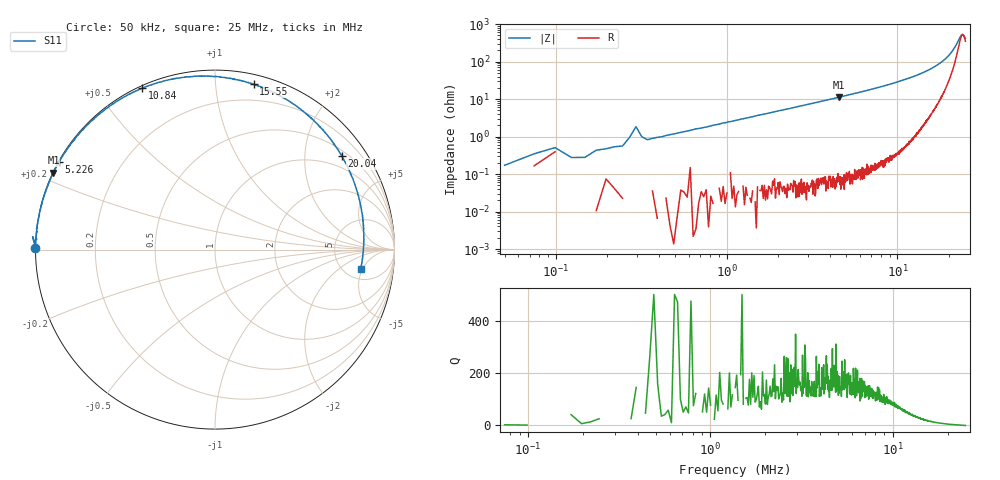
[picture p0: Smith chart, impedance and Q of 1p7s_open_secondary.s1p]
# HZ S RI R 50
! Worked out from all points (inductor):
!   1023 points, 50 kHz to 25 MHz, reference 50 ohm
!   read as one part to ground: L = 401 nH near 172.1 kHz
!   highest Q = 211 at 4.566 MHz (marker M1), where L = 393 nH
!   self-resonance near 24.11 MHz
!   S11 on the Smith chart (normalised r, x): 50 kHz: -0.00, +0.00; 5.226 MHz: 0.00, +0.26; 10.84 MHz: 0.01, +0.65; 15.55 MHz: 0.07, +1.26; 20.04 MHz: 0.64, +2.90; 25 MHz: 7.05, -4.59
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50000  -1.002 0.0066
391782  -0.999 0.0382
1465954  -0.9894 0.1404
3174864  -0.9512 0.2997
4566405  -0.9001 0.4282
5225556  -0.8682 0.4873
6299728  -0.8095 0.5815
7862160  -0.6974 0.708
9424592  -0.5576 0.8183
1.084055e7  -0.4061 0.8992
1.157294e7  -0.3202 0.9304
1.252504e7  -0.1975 0.9562
1.320861e7  -0.1057 0.9657
1.408748e7  0.0151 0.963
1.48931e7  0.1269 0.9461
1.555226e7  0.2155 0.9205
1.564991e7  0.2296 0.9156
1.640671e7  0.3286 0.8743
1.716351e7  0.4233 0.8199
1.784708e7  0.5027 0.7614
1.877477e7  0.6005 0.6699
2.004425e7  0.7053 0.5223
2.104518e7  0.7669 0.3982
2.189964e7  0.8023 0.2876
2.265644e7  0.8227 0.187
2.343765e7  0.8295 0.0864
2.424328e7  0.8256 -0.0148
2.500009e7  0.8126 -0.107
